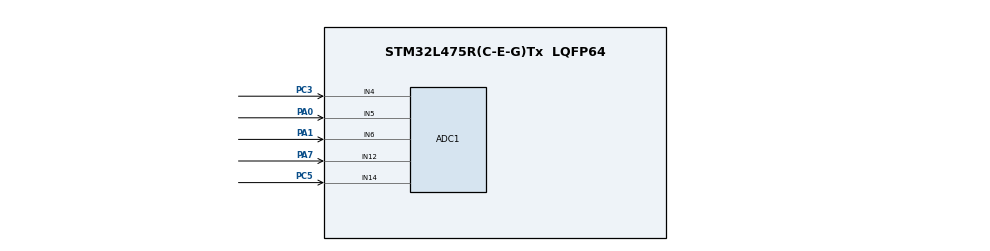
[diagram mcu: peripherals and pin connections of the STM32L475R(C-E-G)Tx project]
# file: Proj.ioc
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ADC1.Channel-0\#ChannelRegularConversion=ADC_CHANNEL_4
ADC1.Channel-1\#ChannelRegularConversion=ADC_CHANNEL_5
ADC1.Channel-2\#ChannelRegularConversion=ADC_CHANNEL_6
ADC1.Channel-3\#ChannelRegularConversion=ADC_CHANNEL_14
ADC1.Channel-4\#ChannelRegularConversion=ADC_CHANNEL_12
ADC1.ClockPrescaler=ADC_CLOCK_ASYNC_DIV128
ADC1.ContinuousConvMode=ENABLE
ADC1.EOCSelection=ADC_EOC_SINGLE_CONV
ADC1.NbrOfConversion=5
ADC1.NbrOfConversionFlag=1
ADC1.OffsetNumber-0\#ChannelRegularConversion=ADC_OFFSET_NONE
ADC1.OffsetNumber-1\#ChannelRegularConversion=ADC_OFFSET_NONE
ADC1.OffsetNumber-2\#ChannelRegularConversion=ADC_OFFSET_NONE
ADC1.OffsetNumber-3\#ChannelRegularConversion=ADC_OFFSET_NONE
ADC1.OffsetNumber-4\#ChannelRegularConversion=ADC_OFFSET_NONE
ADC1.Rank-0\#ChannelRegularConversion=1
ADC1.Rank-1\#ChannelRegularConversion=2
ADC1.Rank-2\#ChannelRegularConversion=3
ADC1.Rank-3\#ChannelRegularConversion=4
ADC1.Rank-4\#ChannelRegularConversion=5
ADC1.SamplingTime-0\#ChannelRegularConversion=ADC_SAMPLETIME_2CYCLES_5
ADC1.SamplingTime-1\#ChannelRegularConversion=ADC_SAMPLETIME_2CYCLES_5
ADC1.SamplingTime-2\#ChannelRegularConversion=ADC_SAMPLETIME_2CYCLES_5
ADC1.SamplingTime-3\#ChannelRegularConversion=ADC_SAMPLETIME_2CYCLES_5
ADC1.SamplingTime-4\#ChannelRegularConversion=ADC_SAMPLETIME_2CYCLES_5
ADC1.master=1
Mcu.Family=STM32L4
Mcu.Name=STM32L475R(C-E-G)Tx
Mcu.Package=LQFP64
NVIC.ADC1_2_IRQn=true\:0\:0\:false\:false\:true\:true\:true
NVIC.PriorityGroup=NVIC_PRIORITYGROUP_4
PA0.Signal=ADCx_IN5
PA1.Signal=ADCx_IN6
PA7.Signal=ADCx_IN12
PC3.Signal=ADCx_IN4
PC5.Signal=ADCx_IN14
ProjectManager.HeapSize=0x200
ProjectManager.StackSize=0x400
ProjectManager.TargetToolchain=TrueSTUDIO
RCC.ADCFreq_Value=32000000
RCC.HSE_VALUE=8000000
RCC.HSI_VALUE=16000000
RCC.LSE_VALUE=32768
RCC.MSI_VALUE=4000000
RCC.PLLSAI1N=16
RCC.USBFreq_Value=32000000
RCC.VCOOutputFreq_Value=32000000
SH.ADCx_IN12.0=ADC1_IN12,IN12-Single-Ended
SH.ADCx_IN14.0=ADC1_IN14,IN14-Single-Ended
SH.ADCx_IN4.0=ADC1_IN4,IN4-Single-Ended
SH.ADCx_IN5.0=ADC1_IN5,IN5-Single-Ended
SH.ADCx_IN6.0=ADC1_IN6,IN6-Single-Ended
board=custom

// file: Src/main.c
/* USER CODE BEGIN Header */
/**
  ******************************************************************************
  * @file           : main.c
  * @brief          : Main program body
  ******************************************************************************
  * @attention
  *
  * <h2><center>&copy; Copyright (c) 2020 STMicroelectronics.
  * All rights reserved.</center></h2>
  *
  * This software component is licensed by ST under BSD 3-Clause license,
  * the "License"; You may not use this file except in compliance with the
  * License. You may obtain a copy of the License at:
  *                        opensource.org/licenses/BSD-3-Clause
  *
  ******************************************************************************
  */
/* USER CODE END Header */

#include "main.h"

ADC_HandleTypeDef hadc1;

void SystemClock_Config(void);
static void MX_GPIO_Init(void);
static void MX_ADC1_Init(void);

int __attribute__((optimize("O0")))  main(void)
{

  /* MCU Configuration--------------------------------------------------------*/

  /* Reset of all peripherals, Initializes the Flash interface and the Systick. */
  HAL_Init();

  /* Configure the system clock */
  SystemClock_Config();

  /* Initialize all configured peripherals */
  MX_GPIO_Init();
  MX_ADC1_Init();
  /* USER CODE BEGIN 2 */
	if (HAL_ADCEx_Calibration_Start(&hadc1, ADC_SINGLE_ENDED) != HAL_OK)
	{
		return HAL_ERROR;
	}
  HAL_ADC_Start_IT(&hadc1);//запустить прерывания АЦП
  /* USER CODE END 2 */

  /* Infinite loop */
  /* USER CODE BEGIN WHILE */
  while (1)
  {
	  asm("nop");
    /* USER CODE END WHILE */

  }
}

void SystemClock_Config(void)
{
  RCC_OscInitTypeDef RCC_OscInitStruct = {0};
  RCC_ClkInitTypeDef RCC_ClkInitStruct = {0};
  RCC_PeriphCLKInitTypeDef PeriphClkInit = {0};

  /** Initializes the CPU, AHB and APB busses clocks
  */
  RCC_OscInitStruct.OscillatorType = RCC_OSCILLATORTYPE_MSI;
  RCC_OscInitStruct.MSIState = RCC_MSI_ON;
  RCC_OscInitStruct.MSICalibrationValue = 0;
  RCC_OscInitStruct.MSIClockRange = RCC_MSIRANGE_6;
  RCC_OscInitStruct.PLL.PLLState = RCC_PLL_NONE;
  if (HAL_RCC_OscConfig(&RCC_OscInitStruct) != HAL_OK)
  {
    Error_Handler();
  }
  /** Initializes the CPU, AHB and APB busses clocks
  */
  RCC_ClkInitStruct.ClockType = RCC_CLOCKTYPE_HCLK|RCC_CLOCKTYPE_SYSCLK
                              |RCC_CLOCKTYPE_PCLK1|RCC_CLOCKTYPE_PCLK2;
  RCC_ClkInitStruct.SYSCLKSource = RCC_SYSCLKSOURCE_MSI;
  RCC_ClkInitStruct.AHBCLKDivider = RCC_SYSCLK_DIV1;
  RCC_ClkInitStruct.APB1CLKDivider = RCC_HCLK_DIV1;
  RCC_ClkInitStruct.APB2CLKDivider = RCC_HCLK_DIV1;

  if (HAL_RCC_ClockConfig(&RCC_ClkInitStruct, FLASH_LATENCY_0) != HAL_OK)
  {
    Error_Handler();
  }
  PeriphClkInit.PeriphClockSelection = RCC_PERIPHCLK_ADC;
  PeriphClkInit.AdcClockSelection = RCC_ADCCLKSOURCE_PLLSAI1;
  PeriphClkInit.PLLSAI1.PLLSAI1Source = RCC_PLLSOURCE_MSI;
  PeriphClkInit.PLLSAI1.PLLSAI1M = 1;
  PeriphClkInit.PLLSAI1.PLLSAI1N = 16;
  PeriphClkInit.PLLSAI1.PLLSAI1P = RCC_PLLP_DIV7;
  PeriphClkInit.PLLSAI1.PLLSAI1Q = RCC_PLLQ_DIV2;
  PeriphClkInit.PLLSAI1.PLLSAI1R = RCC_PLLR_DIV2;
  PeriphClkInit.PLLSAI1.PLLSAI1ClockOut = RCC_PLLSAI1_ADC1CLK;
  if (HAL_RCCEx_PeriphCLKConfig(&PeriphClkInit) != HAL_OK)
  {
    Error_Handler();
  }
  /** Configure the main internal regulator output voltage
  */
  if (HAL_PWREx_ControlVoltageScaling(PWR_REGULATOR_VOLTAGE_SCALE1) != HAL_OK)
  {
    Error_Handler();
  }
}

static void MX_ADC1_Init(void)
{

  ADC_MultiModeTypeDef multimode = {0};
  ADC_ChannelConfTypeDef sConfig = {0};

  /** Common config
  */
  hadc1.Instance = ADC1;
  hadc1.Init.ClockPrescaler = ADC_CLOCK_ASYNC_DIV128;
  hadc1.Init.Resolution = ADC_RESOLUTION_12B;
  hadc1.Init.DataAlign = ADC_DATAALIGN_RIGHT;
  hadc1.Init.ScanConvMode = ADC_SCAN_ENABLE;
  hadc1.Init.EOCSelection = ADC_EOC_SINGLE_CONV;
  hadc1.Init.LowPowerAutoWait = DISABLE;
  hadc1.Init.ContinuousConvMode = ENABLE;
  hadc1.Init.NbrOfConversion = 5;
  hadc1.Init.DiscontinuousConvMode = DISABLE;
  hadc1.Init.ExternalTrigConv = ADC_SOFTWARE_START;
  hadc1.Init.ExternalTrigConvEdge = ADC_EXTERNALTRIGCONVEDGE_NONE;
  hadc1.Init.DMAContinuousRequests = DISABLE;
  hadc1.Init.Overrun = ADC_OVR_DATA_PRESERVED;
  hadc1.Init.OversamplingMode = DISABLE;
  if (HAL_ADC_Init(&hadc1) != HAL_OK)
  {
    Error_Handler();
  }
  /** Configure the ADC multi-mode
  */
  multimode.Mode = ADC_MODE_INDEPENDENT;
  if (HAL_ADCEx_MultiModeConfigChannel(&hadc1, &multimode) != HAL_OK)
  {
    Error_Handler();
  }
  /** Configure Regular Channel
  */
  sConfig.Channel = ADC_CHANNEL_4;
  sConfig.Rank = ADC_REGULAR_RANK_1;
//  sConfig.SamplingTime = ADC_SAMPLETIME_2CYCLES_5;
  sConfig.SamplingTime = ADC_SAMPLETIME_640CYCLES_5;
  sConfig.SingleDiff = ADC_SINGLE_ENDED;
  sConfig.OffsetNumber = ADC_OFFSET_NONE;
  sConfig.Offset = 0;
  if (HAL_ADC_ConfigChannel(&hadc1, &sConfig) != HAL_OK)
  {
    Error_Handler();
  }
  /** Configure Regular Channel
  */
  sConfig.Channel = ADC_CHANNEL_5;
  sConfig.Rank = ADC_REGULAR_RANK_2;
  if (HAL_ADC_ConfigChannel(&hadc1, &sConfig) != HAL_OK)
  {
    Error_Handler();
  }
  /** Configure Regular Channel
  */
  sConfig.Channel = ADC_CHANNEL_6;
  sConfig.Rank = ADC_REGULAR_RANK_3;
  if (HAL_ADC_ConfigChannel(&hadc1, &sConfig) != HAL_OK)
  {
    Error_Handler();
  }
  /** Configure Regular Channel
  */
  sConfig.Channel = ADC_CHANNEL_14;
  sConfig.Rank = ADC_REGULAR_RANK_4;
  if (HAL_ADC_ConfigChannel(&hadc1, &sConfig) != HAL_OK)
  {
    Error_Handler();
  }
  /** Configure Regular Channel
  */
  sConfig.Channel = ADC_CHANNEL_12;
  sConfig.Rank = ADC_REGULAR_RANK_5;
  if (HAL_ADC_ConfigChannel(&hadc1, &sConfig) != HAL_OK)
  {
    Error_Handler();
  }

}

static void MX_GPIO_Init(void)
{

  /* GPIO Ports Clock Enable */
  __HAL_RCC_GPIOC_CLK_ENABLE();
  __HAL_RCC_GPIOA_CLK_ENABLE();

}

/* USER CODE BEGIN 4 */

uint16_t _dbgADCValues[5][1000];
uint16_t _dbgInd[5];

uint8_t _i = 0;
uint32_t adcValue[5];
void __attribute__((optimize("O0"))) HAL_ADC_ConvCpltCallback(ADC_HandleTypeDef* hadc)
{
	adcValue[_i] = HAL_ADC_GetValue(hadc);

	_dbgADCValues[_i][_dbgInd[_i]]=adcValue[_i];
	if(_dbgInd[_i] < 1000)
		(_dbgInd[_i])++;
	else
		_dbgInd[_i] = 0;

	_i++;
	if(_i>4 ||
			__HAL_ADC_GET_FLAG(hadc, ADC_FLAG_EOS))
	{
		//HAL_ADC_Stop_IT(hadc);//запустить прерывания АЦП
		_i = 0;
		//HAL_ADC_Start_IT(hadc);//запустить прерывания АЦП
	}
	asm("nop");
}
/* USER CODE END 4 */

void Error_Handler(void)
{
}

/************************ (C) COPYRIGHT STMicroelectronics *****END OF FILE****/
